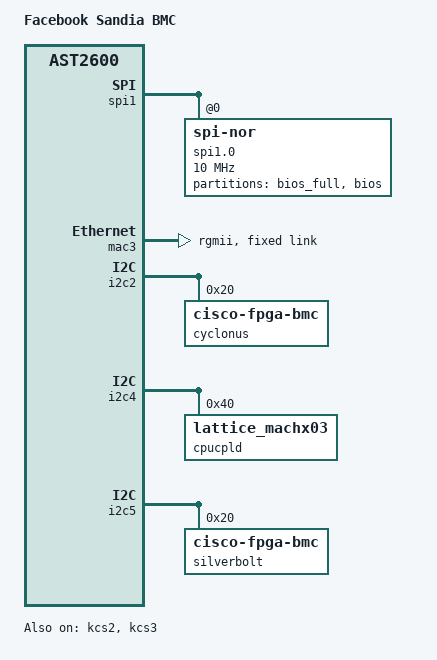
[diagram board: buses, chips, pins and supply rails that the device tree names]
// SPDX-License-Identifier: GPL-2.0+
// Copyright (c) 2022 Meta Platforms, Inc. and affiliates.

/dts-v1/;

#include "ast2600-facebook-netbmc-common.dtsi"

/ {
        model = "Facebook Sandia BMC";
        compatible = "facebook,sandia-bmc", "aspeed,ast2600";
};

&spi1 {
        reg = < 0x1e630000 0xc4
                0x30000000 0x1000000 >;

        flash@0 {
                status = "okay";
                m25p,fast-read;
                compatible = "jedec,spi-nor";
                label = "spi1.0";
                spi-rx-bus-width = <1>;
                spi-max-frequency = <10000000>;

                partitions {
                        compatible = "fixed-partitions";
                        #address-cells = <1>;
                        #size-cells = <1>;

                        bios_full@0 {
                               reg = <0x0 0x1000000>;
                               label = "bios_full";
                        };
                        bios@0 {
                               reg = <0x800000 0x800000>;
                               label = "bios";
                        };
                };
        };
};

&mac3 {
        status = "okay";
        pinctrl-names = "default";
        pinctrl-0 = <&pinctrl_rgmii4_default>;
        phy-mode = "rgmii";
        fixed-link {
                speed = <1000>;
                full-duplex;
        };
};

&i2c2 {
        multi-master;
        bus-frequency = <1000000>;

        cyclonus@20 {
                compatible = "cisco-fpga-bmc";
                reg = <0x20>;
                devid-none = <1>;

#include "cisco-cyclonus.dtsi"
        };
};

&i2c4 {
        bus-frequency = <1000000>;

        cpucpld@40 {
                compatible = "lattice_machx03";
                reg = <0x40>;
                devid-none = <1>;
        };
};

&i2c5 {
        bus-frequency = <1000000>;

        silverbolt@20 {
                compatible = "cisco-fpga-bmc";
                reg = <0x20>;
                devid-none = <1>;
#include "cisco-silverbolt.dtsi"
        };
};

&kcs2 {
        status = "okay";
        aspeed,lpc-io-reg = <0xca8>;
};

&kcs3 {
        status = "okay";
        aspeed,lpc-io-reg = <0xca2>;
};
